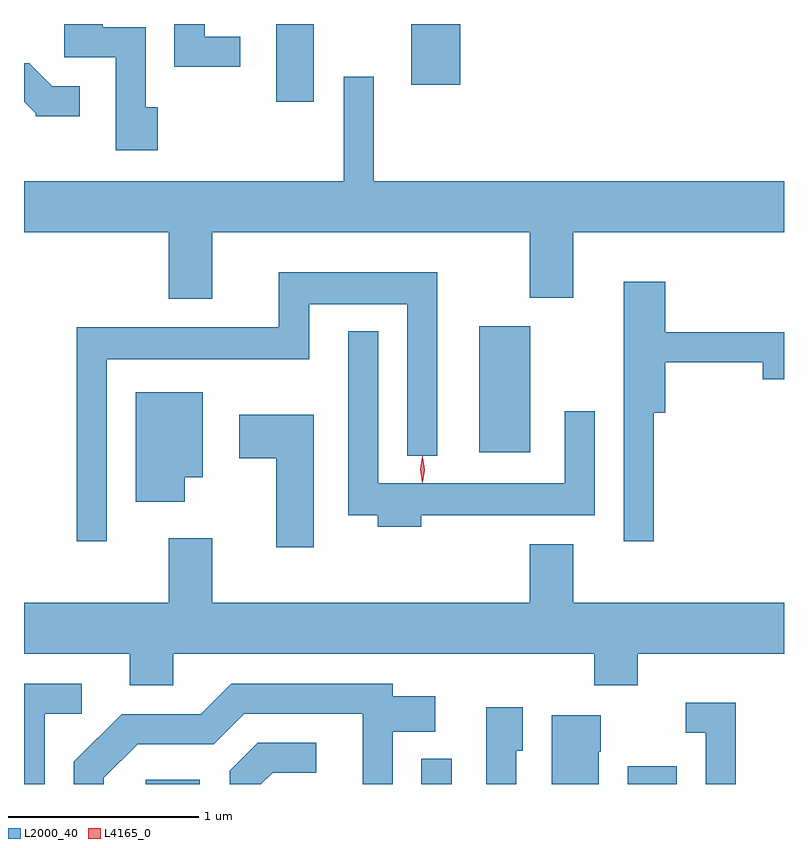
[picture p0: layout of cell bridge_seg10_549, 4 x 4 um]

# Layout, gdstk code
import gdstk
lib = gdstk.Library(unit=1e-6, precision=1e-09)
def R(c, l, rs):  # rectangles x0, y0, x1, y1
    for r in rs: c.add(gdstk.rectangle(r[:2], r[2:], *l))
def P(c, l, *ps):  # polygons
    for p in ps: c.add(gdstk.Polygon(p, *l))
L2000_40 = (2000, 40)
L4165_0 = (4165, 0)

bridge_seg10_549 = lib.new_cell('bridge_seg10_549')
R(bridge_seg10_549, L2000_40, [(781.821,2182.051,782.104,2182.074), (783.271,2182.051,783.429,2182.183), (784.356,2182.051,784.614,2182.144), (783.576,2183.796,783.844,2184.459), (782.506,2185.641,782.704,2186.051), (783.216,2185.731,783.474,2186.051)])
P(bridge_seg10_549, L2000_40, [(782.318,2185.984),(782.129,2185.984),(782.129,2186.051),(781.971,2186.051),(781.971,2185.826),(782.318,2185.826)],
  [(781.884,2185.614),(781.819,2185.614),(781.819,2186.034),(781.594,2186.034),(781.594,2186.051),(781.391,2186.051),(781.391,2185.876),(781.661,2185.876),(781.661,2185.386),(781.884,2185.386)],
  [(781.473,2185.724),(781.327,2185.724),(781.207,2185.844),(781.179,2185.844),(781.179,2185.641),(781.24,2185.58),(781.24,2185.566),(781.473,2185.566)],
  [(782.169,2184.956),(783.841,2184.956),(783.841,2184.611),(784.069,2184.611),(784.069,2184.956),(785.179,2184.956),(785.179,2185.224),(783.019,2185.224),(783.019,2185.773),(782.861,2185.773),(782.861,2185.224),(781.179,2185.224),(781.179,2184.956),(781.941,2184.956),(781.941,2184.606),(782.169,2184.606)],
  [(781.614,2184.286),(782.679,2184.286),(782.679,2184.576),(783.196,2184.576),(783.196,2183.778),(783.354,2183.778),(783.354,2184.744),(782.521,2184.744),(782.521,2184.454),(781.456,2184.454),(781.456,2183.328),(781.614,2183.328)],
  [(784.494,2184.006),(784.554,2184.006),(784.554,2184.271),(785.066,2184.271),(785.066,2184.181),(785.179,2184.181),(785.179,2184.429),(784.554,2184.429),(784.554,2184.694),(784.336,2184.694),(784.336,2183.328),(784.494,2183.328)],
  [(783.269,2183.466),(784.184,2183.466),(784.184,2184.013),(784.026,2184.013),(784.026,2183.634),(783.044,2183.634),(783.044,2184.433),(782.886,2184.433),(782.886,2183.466),(783.041,2183.466),(783.041,2183.406),(783.269,2183.406)],
  [(782.024,2183.666),(782.119,2183.666),(782.119,2184.114),(781.766,2184.114),(781.766,2183.536),(782.024,2183.536)],
  [(782.704,2183.994),(782.311,2183.994),(782.311,2183.766),(782.506,2183.766),(782.506,2183.296),(782.704,2183.296)],
  [(781.964,2182.736),(784.181,2182.736),(784.181,2182.571),(784.409,2182.571),(784.409,2182.736),(785.179,2182.736),(785.179,2183.004),(784.069,2183.004),(784.069,2183.314),(783.841,2183.314),(783.841,2183.004),(782.169,2183.004),(782.169,2183.344),(781.941,2183.344),(781.941,2183.004),(781.179,2183.004),(781.179,2182.736),(781.736,2182.736),(781.736,2182.571),(781.964,2182.571)],
  [(781.599,2182.084),(781.777,2182.261),(782.177,2182.261),(782.337,2182.421),(782.961,2182.421),(782.961,2182.051),(783.119,2182.051),(783.119,2182.326),(783.344,2182.326),(783.344,2182.514),(783.119,2182.514),(783.119,2182.579),(782.269,2182.579),(782.109,2182.419),(781.694,2182.419),(781.441,2182.167),(781.441,2182.051),(781.599,2182.051)],
  [(781.289,2182.421),(781.483,2182.421),(781.483,2182.579),(781.179,2182.579),(781.179,2182.051),(781.289,2182.051)],
  [(784.924,2182.479),(784.663,2182.479),(784.663,2182.321),(784.766,2182.321),(784.766,2182.051),(784.924,2182.051)],
  [(783.769,2182.226),(783.804,2182.226),(783.804,2182.454),(783.611,2182.454),(783.611,2182.051),(783.769,2182.051)],
  [(784.204,2182.22),(784.214,2182.22),(784.214,2182.414),(783.956,2182.414),(783.956,2182.051),(784.204,2182.051)],
  [(782.487,2182.111),(782.718,2182.111),(782.718,2182.269),(782.409,2182.269),(782.261,2182.122),(782.261,2182.051),(782.426,2182.051)])
P(bridge_seg10_549, L4165_0, [(783.274,2183.637),(783.274,2183.637),(783.264,2183.707),(783.274,2183.776),(783.274,2183.776),(783.275,2183.776),(783.284,2183.707),(783.275,2183.637)],
  [(783.277,2183.64),(783.268,2183.706),(783.277,2183.772),(783.278,2183.773),(783.278,2183.772),(783.287,2183.706),(783.278,2183.64),(783.278,2183.64)])

lib.write_gds('bridge_seg10_549.gds')
